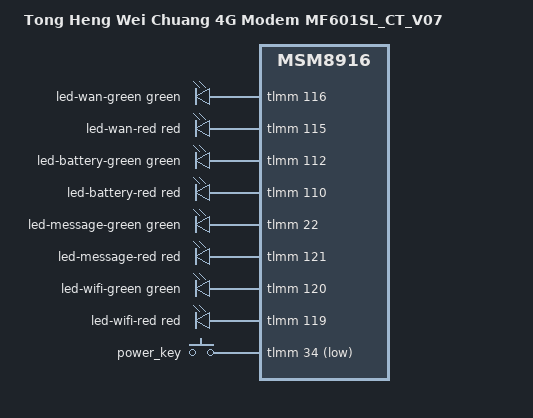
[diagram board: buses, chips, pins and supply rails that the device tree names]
// SPDX-License-Identifier: GPL-2.0-only
// https://github.com/CoiaPrant233/msm8916_linux

/dts-v1/;

#define LIMIT_CHARGE 1
#include "msm8916-thwc-common.dtsi"
#include "msm8916-thwc-battery.dtsi"

/ {
	model = "Tong Heng Wei Chuang 4G Modem MF601SL_CT_V07";
	compatible = "thwc,mf601sl-v7", "qcom,msm8916";
};

&leds {
	led-wan-green {
		color = <LED_COLOR_ID_GREEN>;
		function = LED_FUNCTION_WAN;
		default-state = "off";
		gpios = <&tlmm 116 GPIO_ACTIVE_HIGH>;
	};

	led-wan-red {
		color = <LED_COLOR_ID_RED>;
		function = LED_FUNCTION_WAN;
		default-state = "off";
		gpios = <&tlmm 115 GPIO_ACTIVE_HIGH>;
	};

	led-battery-green {
		color = <LED_COLOR_ID_GREEN>;
		function = LED_FUNCTION_POWER;
		default-state = "on";
		linux,default-trigger = "heartbeat";
		gpios = <&tlmm 112 GPIO_ACTIVE_HIGH>;
	};

	led-battery-red {
		color = <LED_COLOR_ID_RED>;
		function = LED_FUNCTION_POWER;
		default-state = "off";
		linux,default-trigger = "pm8916-lbc-chgr-online";
		gpios = <&tlmm 110 GPIO_ACTIVE_HIGH>;
	};

	led-message-green {
		color = <LED_COLOR_ID_GREEN>;
		function = "message";
		default-state = "off";
		gpios = <&tlmm 22 GPIO_ACTIVE_HIGH>;
	};

	led-message-red {
		color = <LED_COLOR_ID_RED>;
		function = "message";
		default-state = "off";
		gpios = <&tlmm 121 GPIO_ACTIVE_HIGH>;
	};

	led-wifi-green {
		color = <LED_COLOR_ID_GREEN>;
		function = LED_FUNCTION_WLAN;
		default-state = "off";
		gpios = <&tlmm 120 GPIO_ACTIVE_HIGH>;
	};

	led-wifi-red {
		color = <LED_COLOR_ID_RED>;
		function = LED_FUNCTION_WLAN;
		default-state = "off";
		gpios = <&tlmm 119 GPIO_ACTIVE_HIGH>;
	};
};

&gpio_leds_default {
	pins = "gpio20", "gpio21", "gpio22", "gpio110", "gpio112", "gpio113",
		"gpio114", "gpio115", "gpio116", "gpio117", "gpio118", "gpio119",
		"gpio120", "gpio121";
};

&power_key {
	gpios = <&tlmm 34 GPIO_ACTIVE_LOW>;
};

&button_default {
	pins = "gpio34";
};

&sim_ctrl_default {
	esim-sel-pins {
		function = "gpio";
		drive-strength = <2>;
		pins = "gpio50", "gpio51";
		bias-disable;
		output-low;
	};

	sim-en-pins {
		function = "gpio";
		drive-strength = <2>;
		pins = "gpio24";
		bias-disable;
		output-low;
	};

	sim-sel-pins {
		function = "gpio";
		drive-strength = <2>;
		pins = "gpio49";
		bias-disable;
		output-high;
	};
};
